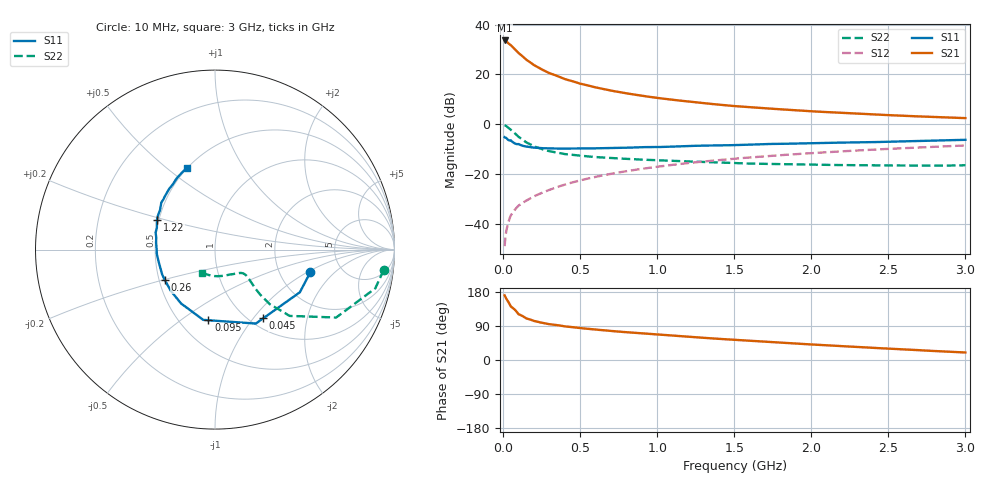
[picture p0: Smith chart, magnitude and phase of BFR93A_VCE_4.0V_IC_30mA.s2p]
! Infineon Technologies  Discrete & RF Semiconductors
! BFR93A
! VCE =  4.0 V,  IC =  30 mA
! Common Emitter S-Parameters:  Nov 2015
# GHz  S  MA  R  50
!  f  S11  S21  S12  S22
! GHz  MAG  ANG  MAG  ANG  MAG  ANG  MAG  ANG
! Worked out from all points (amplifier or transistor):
!   180 points, 10 MHz to 3 GHz, reference 50 ohm
!   highest |S21| = 33.7 dB at 10 MHz (marker M1)
!   |S21| within 3 dB of that: start of sweep to 68.28 MHz
!   unconditionally stable (mu >= 1): 363.9 MHz to 2.827 GHz
!   at 160 MHz: K = 0.78, MSG = 28.0 dB, |S12| = -30.4 dB
!   at 1.22 GHz: K = 1.07, MAG = 10.6 dB, |S12| = -15.6 dB
!   at 3 GHz: K = 0.99, MSG = 5.5 dB, |S12| = -8.6 dB
!   S11 on the Smith chart (normalised r, x): 10 MHz: 2.97, -1.08; 45 MHz: 1.15, -1.12; 95 MHz: 0.69, -0.64; 260 MHz: 0.54, -0.20; 1.22 GHz: 0.49, +0.19; 3 GHz: 0.50, +0.59
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0.01  0.5457 -13.5  48.17 170.7  0.0035 82.5  0.9468 -6.9
0.02  0.5292 -26.7  46.57 162.3  0.0068 78.1  0.9188 -13.6
0.045  0.4677 -55.0  39.77 145.4  0.0133 70.3  0.7932 -26.3
0.05  0.4707 -61.1  38.9 141.4  0.0146 69.6  0.7736 -29.3
0.095  0.3953 -95.3  27.98 123.8  0.022 64.0  0.5766 -40.0
0.1  0.397 -99.5  27 121.0  0.0228 63.6  0.5564 -41.6
0.15  0.3547 -122.3  19.77 109.8  0.0288 64.1  0.4297 -44.9
0.2  0.3366 -137.1  15.42 103.1  0.0351 65.7  0.3579 -44.9
0.24  0.3288 -145.3  13.15 99.3  0.0399 66.9  0.3227 -44.2
0.26  0.327 -148.8  12.19 97.6  0.0424 67.4  0.3081 -43.8
0.3  0.3254 -154.7  10.62 94.5  0.0474 68.6  0.2852 -42.8
0.4  0.3212 -166.3  8.066 88.8  0.0605 70.1  0.2496 -40.8
0.52  0.3246 -176.6  6.309 83.4  0.0763 70.4  0.2281 -39.7
0.6  0.3256 178.4  5.48 80.3  0.0867 70.3  0.217 -39.5
0.7  0.3308 173.1  4.721 76.6  0.0999 69.9  0.2078 -40.0
0.9  0.3441 164.1  3.709 70.3  0.1257 68.4  0.1929 -42.4
1.02  0.3463 159.3  3.306 66.6  0.1413 67.2  0.1869 -44.4
1.22  0.364 152.6  2.807 60.9  0.1668 65.0  0.1765 -49.1
1.52  0.3794 143.6  2.282 52.7  0.2037 61.6  0.1638 -57.4
2.02  0.4128 131.0  1.796 40.6  0.2626 55.6  0.1524 -74.4
2.52  0.4439 119.9  1.506 29.6  0.3194 49.2  0.1471 -94.3
3  0.4829 109.0  1.32 19.8  0.3716 42.9  0.1486 -118.1
